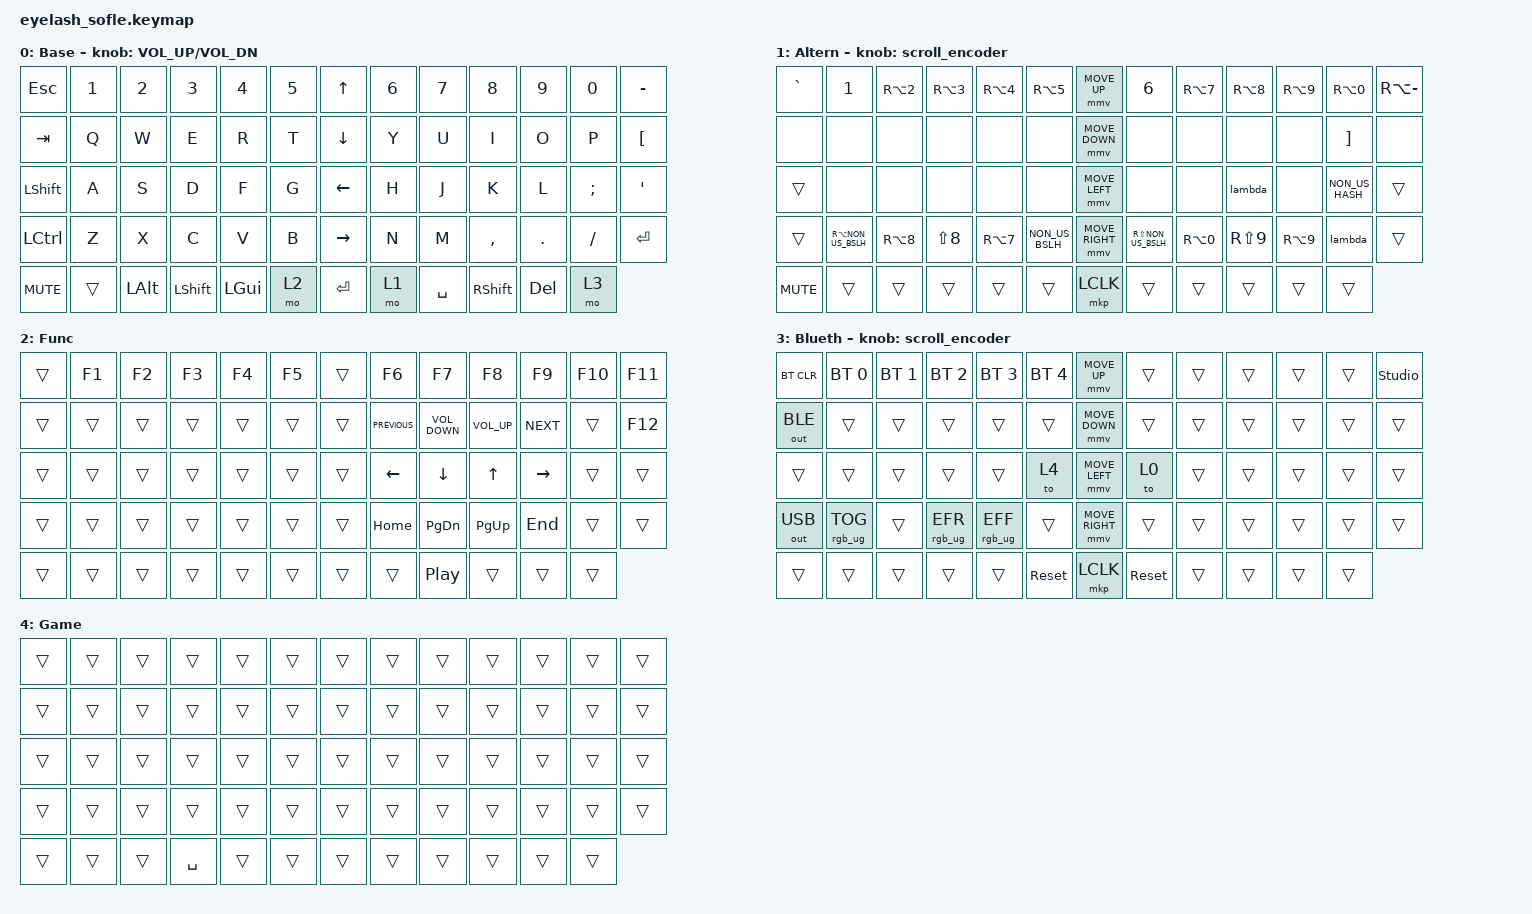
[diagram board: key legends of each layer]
#define ZMK_POINTING_DEFAULT_MOVE_VAL 1200  // 600
#define ZMK_POINTING_DEFAULT_SCRL_VAL 25   // 10

#include <input/processors.dtsi>
#include <zephyr/dt-bindings/input/input-event-codes.h>
#include <behaviors.dtsi>
#include <dt-bindings/zmk/bt.h>
#include <dt-bindings/zmk/keys.h>
#include <dt-bindings/zmk/outputs.h>
#include <dt-bindings/zmk/pointing.h>
#include <dt-bindings/zmk/rgb.h>

&mmv_input_listener { input-processors = <&zip_xy_scaler 2 1>; };

&msc_input_listener { input-processors = <&zip_scroll_scaler 2 1>; };

&msc {
    acceleration-exponent = <1>;      // 0
    time-to-max-speed-ms = <100>;       // 300
    delay-ms = <0>;                   // 0
};

&mmv {
    time-to-max-speed-ms = <500>;
    acceleration-exponent = <1>;
    trigger-period-ms = <16>;
};

&soft_off { hold-time-ms = <2000>; };

/ {
    scroll_encoder: scroll_encoder {
        compatible = "zmk,behavior-sensor-rotate";
        #sensor-binding-cells = <0>;
        bindings = <&msc SCRL_DOWN>, <&msc SCRL_UP>;

        tap-ms = <100>;
    };

    behaviors {
    };

    combos {
        compatible = "zmk,combos";

        bksp {
            bindings = <&kp BACKSPACE>;
            key-positions = <22 23>;
        };

        delete {
            bindings = <&kp DELETE>;
            key-positions = <15 16>;
        };

        enter {
            bindings = <&kp ENTER>;
            key-positions = <34 35 36>;
        };

        softoff {
            bindings = <&soft_off>;
            key-positions = <14 28 40>;
        };
    };

    macros {
        lambda: lambda {
            compatible = "zmk,behavior-macro";
            #binding-cells = <0>;
            bindings = <&kp LS(N0) &kp LS(NON_US_BSLH)>;
            label = "LAMBDA";
        };

        SHIFT_MCLK: SHIFT_MCLK {
            compatible = "zmk,behavior-macro";
            #binding-cells = <0>;
            bindings =
                <&macro_press>,
                <&kp LEFT_SHIFT>,
                <&macro_press>,
                <&mkp MB3>,
                <&macro_pause_for_release>,
                <&macro_release>,
                <&kp LEFT_SHIFT &mkp MB3>;

            label = "SHIFT_MCLK";
        };
    };

    keymap {
        compatible = "zmk,keymap";

        layer_0 {
            bindings = <
&kp ESC         &kp N1  &kp N2        &kp N3          &kp N4        &kp N5    &kp UP_ARROW     &kp N6  &kp N7     &kp N8           &kp N9   &kp N0     &kp MINUS
&kp TAB         &kp Q   &kp W         &kp E           &kp R         &kp T     &kp DOWN_ARROW   &kp Y   &kp U      &kp I            &kp O    &kp P      &kp LEFT_BRACKET
&kp LEFT_SHIFT  &kp A   &kp S         &kp D           &kp F         &kp G     &kp LEFT_ARROW   &kp H   &kp J      &kp K            &kp L    &kp SEMI   &kp APOS
&kp LCTRL       &kp Z   &kp X         &kp C           &kp V         &kp B     &kp RIGHT_ARROW  &kp N   &kp M      &kp COMMA        &kp DOT  &kp SLASH  &kp ENTER
&kp C_MUTE      &trans  &kp LEFT_ALT  &kp LEFT_SHIFT  &kp LEFT_GUI  &mo 2     &kp ENTER        &mo 1   &kp SPACE  &kp RIGHT_SHIFT  &kp DEL  &mo 3
            >;

            sensor-bindings = <&inc_dec_kp C_VOLUME_UP C_VOL_DN>;
            label = "Base";
        };

        layer_1 {
            bindings = <
&kp GRAVE   &kp NUMBER_1         &kp RA(NUMBER_2)  &kp RA(NUMBER_3)  &kp RA(NUMBER_4)  &kp RA(NUMBER_5)    &mmv MOVE_UP     &kp NUMBER_6         &kp RA(NUMBER_7)  &kp RA(NUMBER_8)  &kp RA(NUMBER_9)  &kp RA(NUMBER_0)  &kp RA(MINUS)
&none       &none                &none             &none             &none             &none               &mmv MOVE_DOWN   &none                &none             &none             &none             &kp RBKT          &none
&trans      &none                &none             &none             &none             &none               &mmv MOVE_LEFT   &none                &none             &lambda           &none             &kp NON_US_HASH   &trans
&trans      &kp RA(NON_US_BSLH)  &kp RA(NUMBER_8)  &kp LS(NUMBER_8)  &kp RA(NUMBER_7)  &kp NON_US_BSLH     &mmv MOVE_RIGHT  &kp RS(NON_US_BSLH)  &kp RA(NUMBER_0)  &kp RS(NUMBER_9)  &kp RA(NUMBER_9)  &lambda           &trans
&kp C_MUTE  &trans               &trans            &trans            &trans            &trans              &mkp LCLK        &trans               &trans            &trans            &trans            &trans
            >;

            sensor-bindings = <&scroll_encoder>;
            label = "Altern";
        };

        layer_2 {
            bindings = <
&trans  &kp F1  &kp F2  &kp F3  &kp F4  &kp F5    &trans  &kp F6          &kp F7             &kp F8           &kp F9           &kp F10  &kp F11
&trans  &trans  &trans  &trans  &trans  &trans    &trans  &kp C_PREVIOUS  &kp C_VOLUME_DOWN  &kp C_VOLUME_UP  &kp C_NEXT       &trans   &kp F12
&trans  &trans  &trans  &trans  &trans  &trans    &trans  &kp LEFT_ARROW  &kp DOWN_ARROW     &kp UP_ARROW     &kp RIGHT_ARROW  &trans   &trans
&trans  &trans  &trans  &trans  &trans  &trans    &trans  &kp HOME        &kp PAGE_DOWN      &kp PAGE_UP      &kp END          &trans   &trans
&trans  &trans  &trans  &trans  &trans  &trans    &trans  &trans          &kp C_PP           &trans           &trans           &trans
            >;

            label = "Func";
        };

        layer_3 {
            bindings = <
&bt BT_CLR    &bt BT_SEL 0     &bt BT_SEL 1  &bt BT_SEL 2     &bt BT_SEL 3     &bt BT_SEL 4    &mmv MOVE_UP     &trans      &trans  &trans  &trans  &trans  &studio_unlock
&out OUT_BLE  &trans           &trans        &trans           &trans           &trans          &mmv MOVE_DOWN   &trans      &trans  &trans  &trans  &trans  &trans
&trans        &trans           &trans        &trans           &trans           &to 4           &mmv MOVE_LEFT   &to 0       &trans  &trans  &trans  &trans  &trans
&out OUT_USB  &rgb_ug RGB_TOG  &trans        &rgb_ug RGB_EFR  &rgb_ug RGB_EFF  &trans          &mmv MOVE_RIGHT  &trans      &trans  &trans  &trans  &trans  &trans
&trans        &trans           &trans        &trans           &trans           &sys_reset      &mkp LCLK        &sys_reset  &trans  &trans  &trans  &trans
            >;

            sensor-bindings = <&scroll_encoder>;
            label = "Blueth";
        };

        layer_4 {
            bindings = <
&trans  &trans  &trans  &trans     &trans  &trans    &trans  &trans  &trans  &trans  &trans  &trans  &trans
&trans  &trans  &trans  &trans     &trans  &trans    &trans  &trans  &trans  &trans  &trans  &trans  &trans
&trans  &trans  &trans  &trans     &trans  &trans    &trans  &trans  &trans  &trans  &trans  &trans  &trans
&trans  &trans  &trans  &trans     &trans  &trans    &trans  &trans  &trans  &trans  &trans  &trans  &trans
&trans  &trans  &trans  &kp SPACE  &trans  &trans    &trans  &trans  &trans  &trans  &trans  &trans
            >;

            label = "Game";
        };
    };
};
